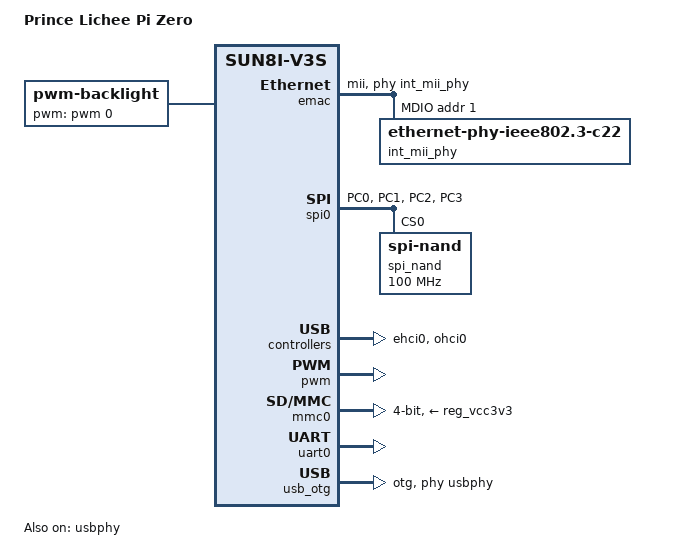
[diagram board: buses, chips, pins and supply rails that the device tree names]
/*
 * Copyright (C) 2016 Icenowy Zheng <icenowy@aosc.xyz>
 *
 * This file is dual-licensed: you can use it either under the terms
 * of the GPL or the X11 license, at your option. Note that this dual
 * licensing only applies to this file, and not this project as a
 * whole.
 *
 *  a) This file is free software; you can redistribute it and/or
 *     modify it under the terms of the GNU General Public License as
 *     published by the Free Software Foundation; either version 2 of the
 *     License, or (at your option) any later version.
 *
 *     This file is distributed in the hope that it will be useful,
 *     but WITHOUT ANY WARRANTY; without even the implied warranty of
 *     MERCHANTABILITY or FITNESS FOR A PARTICULAR PURPOSE.  See the
 *     GNU General Public License for more details.
 *
 * Or, alternatively,
 *
 *  b) Permission is hereby granted, free of charge, to any person
 *     obtaining a copy of this software and associated documentation
 *     files (the "Software"), to deal in the Software without
 *     restriction, including without limitation the rights to use,
 *     copy, modify, merge, publish, distribute, sublicense, and/or
 *     sell copies of the Software, and to permit persons to whom the
 *     Software is furnished to do so, subject to the following
 *     conditions:
 *
 *     The above copyright notice and this permission notice shall be
 *     included in all copies or substantial portions of the Software.
 *
 *     THE SOFTWARE IS PROVIDED "AS IS", WITHOUT WARRANTY OF ANY KIND,
 *     EXPRESS OR IMPLIED, INCLUDING BUT NOT LIMITED TO THE WARRANTIES
 *     OF MERCHANTABILITY, FITNESS FOR A PARTICULAR PURPOSE AND
 *     NONINFRINGEMENT. IN NO EVENT SHALL THE AUTHORS OR COPYRIGHT
 *     HOLDERS BE LIABLE FOR ANY CLAIM, DAMAGES OR OTHER LIABILITY,
 *     WHETHER IN AN ACTION OF CONTRACT, TORT OR OTHERWISE, ARISING
 *     FROM, OUT OF OR IN CONNECTION WITH THE SOFTWARE OR THE USE OR
 *     OTHER DEALINGS IN THE SOFTWARE.
 */

/dts-v1/;
#include "sun8i-v3s.dtsi"
#include "sunxi-common-regulators.dtsi"

/ {
	model = "Prince Lichee Pi Zero";
	compatible = "licheepi,licheepi-zero", "allwinner,sun8i-v3s";

	aliases {
		serial0 = &uart0;
		spi0 = &spi0;
		ethernet0 = &emac;
	};

	chosen {
		stdout-path = "serial0:115200n8";
	};

	backlight: backlight {
        compatible = "pwm-backlight";
        pwms = <&pwm 0 50000 0>;
        brightness-levels = <0 2 4 8 16 32 64 128 255>;
        default-brightness-level = <8>;
    };

	soc {

		syscon: syscon@1c00000 {
            compatible = "allwinner,sun8i-v3s-system-controller", "allwinner,sun8i-h3-system-control", "syscon";
            reg = <0x01c00000 0x1000>;
        };

		emac: ethernet@1c30000 {
			compatible = "allwinner,sun8i-v3s-emac";
			syscon = <&syscon>;
			reg = <0x01c30000 0x104>;
			interrupts = <GIC_SPI 82 IRQ_TYPE_LEVEL_HIGH>;
			interrupt-names = "macirq";
			resets = <&ccu RST_BUS_EMAC>;
			reset-names = "stmmaceth";
			clocks = <&ccu CLK_BUS_EMAC>;
			clock-names = "stmmaceth";
			#address-cells = <1>;
			#size-cells = <0>;

			phy-handle = <&int_mii_phy>;
			phy = <&int_mii_phy>;
			phy-mode = "mii";
			status = "okay";
			allwinner,leds-active-low;
			
			mdio: mdio {
				#address-cells = <1>;
				#size-cells = <0>;
				compatible = "snps,dwmac-mdio";
			};

			mdio-mux {
				compatible = "allwinner,sun8i-h3-mdio-mux";
				#address-cells = <1>;
				#size-cells = <0>;

				mdio-parent-bus = <&mdio>;

				int_mdio: mdio@1 {
					compatible = "allwinner,sun8i-h3-mdio-internal";
					reg = <1>;
					#address-cells = <1>;
					#size-cells = <0>;
					
					int_mii_phy: ethernet-phy@1 {
						compatible = "ethernet-phy-ieee802.3-c22";
						reg = <1>;
						clocks = <&ccu CLK_BUS_EPHY>;
						resets = <&ccu RST_BUS_EPHY>;
						phy-is-integrated;
					};
				};
			};
		};
		
		spi0: spi@1c68000 {
			compatible = "allwinner,sun8i-h3-spi";
			reg = <0x01c68000 0x1000>;
			interrupts = <GIC_SPI 65 IRQ_TYPE_LEVEL_HIGH>;
			clocks = <&ccu CLK_BUS_SPI0>, <&ccu CLK_SPI0>;
			clock-names = "ahb", "mod";
			pinctrl-names = "default";
			pinctrl-0 = <&spi0_pins>;
			resets = <&ccu RST_BUS_SPI0>;
			status = "okay";
			#address-cells = <1>;
			#size-cells = <0>;
			spi_nand: spi-nand@0 {
				#address-cells = <1>;
				#size-cells = <1>;
				compatible = "spi-nand";
				reg = <0>;
				/* The layout on the DolphinPi is very good, 100mhz are possible! */
				spi-max-frequency = <100000000>;

				boot@0 {
					label = "boot";
					reg = <0x0000000 0x0100000>;
				};
				ubi0@100000 {
					label = "ubi0";
					reg = <0x0100000 0x0000000>;
				};
			};
		};

		ehci0: usb@01c1a000 {
            compatible = "allwinner,sun8i-v3s-ehci", "generic-ehci";
            reg = <0x01c1a000 0x100>;
            interrupts = <GIC_SPI 72 IRQ_TYPE_LEVEL_HIGH>;
            clocks = <&ccu CLK_BUS_EHCI0>, <&ccu CLK_BUS_OHCI0>;
            resets = <&ccu RST_BUS_EHCI0>, <&ccu RST_BUS_OHCI0>;
            status = "disabled";
        };

        ohci0: usb@01c1a400 {
            compatible = "allwinner,sun8i-v3s-ohci", "generic-ohci";
            reg = <0x01c1a400 0x100>;
            interrupts = <GIC_SPI 73 IRQ_TYPE_LEVEL_HIGH>;
            clocks = <&ccu CLK_BUS_EHCI0>, <&ccu CLK_BUS_OHCI0>, <&ccu CLK_USB_OHCI0>;
            resets = <&ccu RST_BUS_EHCI0>, <&ccu RST_BUS_OHCI0>;
            status = "disabled";
        };

		pwm: pwm@1c21400 {
            compatible = "allwinner,sun5i-a13-pwm";
            reg = <0x01c21400 0x8>;
            clocks = <&osc24M>;
            #pwm-cells = <3>;
            status = "disabled";
        };
	};
};

&mmc0 {
	pinctrl-0 = <&mmc0_pins_a>;
	pinctrl-names = "default";
//	cd-gpios = <&pio 5 6 GPIO_ACTIVE_LOW>; /* PF6 */
	broken-cd;
	bus-width = <4>;
	vmmc-supply = <&reg_vcc3v3>;
	status = "okay";
};

&uart0 {
	pinctrl-0 = <&uart0_pins_a>;
	pinctrl-names = "default";
	status = "okay";
};

&usb_otg {
	phys = <&usbphy>;
    extcon = <&usbphy>;
	dr_mode = "otg";
	status = "okay";
};

&usbphy {
	#phy-cells = <0>;
	usb0_id_det-gpio = <&pio 5 6 GPIO_ACTIVE_HIGH>;
	status = "okay";
};

&ehci0 {
    status = "okay";
};

&ohci0 {
    status = "okay";
};

&pwm {
    status = "okay";
};

&pio {
	spi0_pins: spi0-pins {
		pins = "PC0", "PC1", "PC2", "PC3";
		function = "spi0";
		drive-strength = <10>;
		bias-disable;
	};

};
